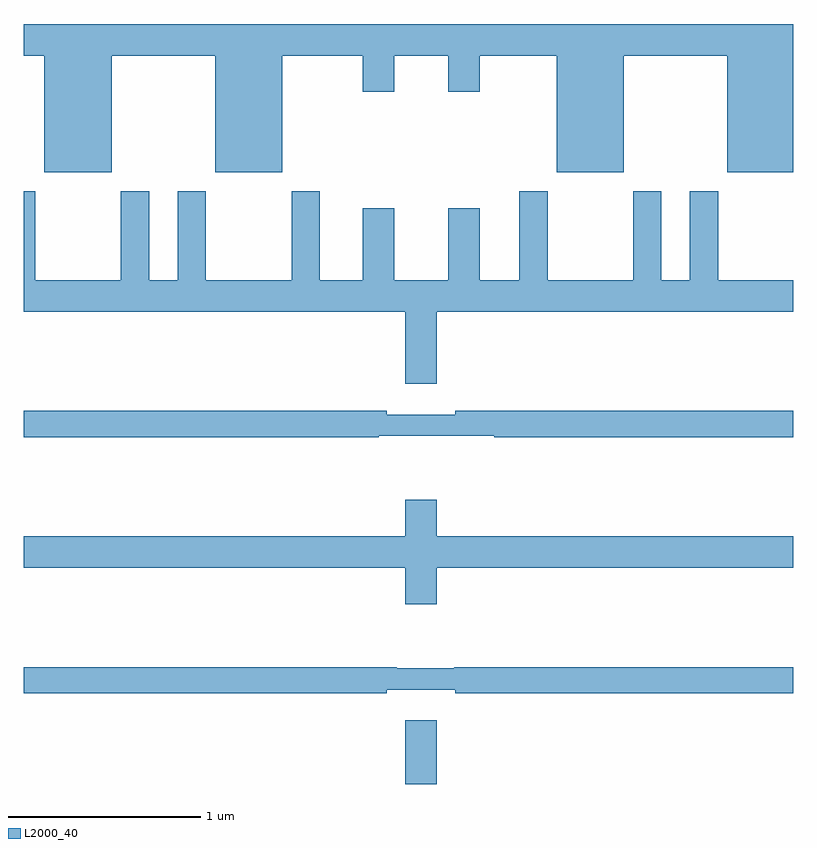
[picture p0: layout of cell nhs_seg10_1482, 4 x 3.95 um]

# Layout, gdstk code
import gdstk
lib = gdstk.Library(unit=1e-6, precision=1e-09)
def R(c, l, rs):  # rectangles x0, y0, x1, y1
    for r in rs: c.add(gdstk.rectangle(r[:2], r[2:], *l))
def P(c, l, *ps):  # polygons
    for p in ps: c.add(gdstk.Polygon(p, *l))
L2000_40 = (2000, 40)

nhs_seg10_1482 = lib.new_cell('nhs_seg10_1482')
R(nhs_seg10_1482, L2000_40, [(188.984,1324.5,189.148,1324.831)])
P(nhs_seg10_1482, L2000_40, [(187.456,1328.288),(187.994,1328.288),(187.994,1327.682),(188.344,1327.682),(188.344,1328.288),(188.762,1328.288),(188.762,1328.1),(188.926,1328.1),(188.926,1328.288),(189.206,1328.288),(189.206,1328.1),(189.37,1328.1),(189.37,1328.288),(189.77,1328.288),(189.77,1327.682),(190.12,1327.682),(190.12,1328.288),(190.658,1328.288),(190.658,1327.682),(191,1327.682),(191,1328.452),(187,1328.452),(187,1328.288),(187.106,1328.288),(187.106,1327.682),(187.456,1327.682)],
  [(189.148,1326.956),(191,1326.956),(191,1327.12),(190.611,1327.12),(190.611,1327.582),(190.463,1327.582),(190.463,1327.12),(190.315,1327.12),(190.315,1327.582),(190.168,1327.582),(190.168,1327.12),(189.723,1327.12),(189.723,1327.582),(189.575,1327.582),(189.575,1327.12),(189.37,1327.12),(189.37,1327.495),(189.206,1327.495),(189.206,1327.12),(188.926,1327.12),(188.926,1327.495),(188.762,1327.495),(188.762,1327.12),(188.539,1327.12),(188.539,1327.582),(188.392,1327.582),(188.392,1327.12),(187.947,1327.12),(187.947,1327.582),(187.799,1327.582),(187.799,1327.12),(187.651,1327.12),(187.651,1327.582),(187.504,1327.582),(187.504,1327.12),(187.059,1327.12),(187.059,1327.582),(187,1327.582),(187,1326.956),(188.984,1326.956),(188.984,1326.582),(189.148,1326.582)],
  [(188.845,1326.312),(189.445,1326.312),(189.445,1326.304),(191,1326.304),(191,1326.44),(189.244,1326.44),(189.244,1326.421),(188.888,1326.421),(188.888,1326.44),(187,1326.44),(187,1326.304),(188.845,1326.304)],
  [(189.148,1325.624),(191,1325.624),(191,1325.788),(189.148,1325.788),(189.148,1325.977),(188.984,1325.977),(188.984,1325.788),(187,1325.788),(187,1325.624),(188.984,1325.624),(188.984,1325.436),(189.148,1325.436)],
  [(188.888,1324.991),(189.244,1324.991),(189.244,1324.972),(191,1324.972),(191,1325.108),(189.238,1325.108),(189.238,1325.101),(188.938,1325.101),(188.938,1325.108),(187,1325.108),(187,1324.972),(188.888,1324.972)])

lib.write_gds('nhs_seg10_1482.gds')
